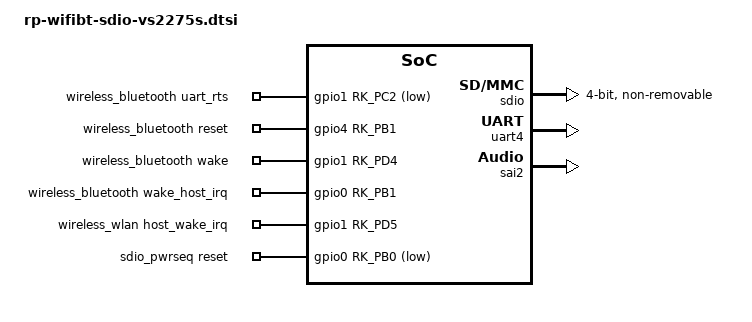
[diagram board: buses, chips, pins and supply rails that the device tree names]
/{    
    wireless_bluetooth: wireless-bluetooth {
        compatible = "bluetooth-platdata";
        uart_rts_gpios = <&gpio1 RK_PC2 GPIO_ACTIVE_LOW>;
        pinctrl-names = "default", "rts_gpio";
        pinctrl-0 = <&uart4m1_rtsn>;
        pinctrl-1 = <&uart4_gpios>;
        BT,reset_gpio    = <&gpio4 RK_PB1 GPIO_ACTIVE_HIGH>;
        BT,wake_gpio     = <&gpio1 RK_PD4 GPIO_ACTIVE_HIGH>;
        BT,wake_host_irq = <&gpio0 RK_PB1 GPIO_ACTIVE_HIGH>;
        clocks = <&hym8563>;
        clock-names = "ext_clock";
        status = "okay";
    };

    wireless_wlan: wireless-wlan {
        compatible = "wlan-platdata";
        wifi_chip_type = "vs2275s";
        pinctrl-names = "default";
        pinctrl-0 = <&wifi_host_wake_irq>;
        WIFI,host_wake_irq = <&gpio1 RK_PD5 GPIO_ACTIVE_HIGH>;
//        WIFI,poweren_gpio = <&gpio0 RK_PB1 GPIO_ACTIVE_HIGH>;
        status = "okay";
    };
    
    sdio_pwrseq: sdio-pwrseq {
        compatible = "mmc-pwrseq-simple";
        pinctrl-names = "default";
        pinctrl-0 = <&wifi_poweren_gpio>;

        /*
         * On the module itself this is one of these (depending
         * on the actual card populated):
         * - SDIO_RESET_L_WL_REG_ON
         * - PDN (power down when low)
         */
        post-power-on-delay-ms = <200>;
        reset-gpios = <&gpio0 RK_PB0 GPIO_ACTIVE_LOW>;
        status = "okay";
    };
    
    
		bt-sound {
        compatible = "simple-audio-card";
        simple-audio-card,format = "dsp_a";
        simple-audio-card,bitclock-inversion = <1>;
        simple-audio-card,mclk-fs = <256>;
        simple-audio-card,name = "rockchip,bt";
        simple-audio-card,cpu {
                sound-dai = <&sai2>;
        };

        simple-audio-card,codec {
                sound-dai = <&bt_sco 1>;
        };
    };

    bt_sco: bt-sco {
            compatible = "delta,dfbmcs320";
            #sound-dai-cells = <1>;
            status = "okay";
    };
};

&sdio {
    max-frequency = <200000000>;
    no-sd;
    no-mmc;
    bus-width = <4>;
    disable-wp;
    cap-sd-highspeed;
    cap-sdio-irq;
    keep-power-in-suspend;
    mmc-pwrseq = <&sdio_pwrseq>;
    non-removable;
    pinctrl-names = "default";
    pinctrl-0 = <&sdmmc1m0_bus4 &sdmmc1m0_clk &sdmmc1m0_cmd>;
    sd-uhs-sdr104;
    status = "okay";
};

&uart4 {
    status = "okay";
    pinctrl-names = "default";
    pinctrl-0 = <&uart4m1_xfer &uart4m1_ctsn>;
};


&sai2 {
    status = "okay";
		pinctrl-names = "default";
		pinctrl-0 = <&sai2m0_lrck
			     &sai2m0_sclk
			     &sai2m0_sdi
			     &sai2m0_sdo>;
};


&pinctrl {
    wireless-bluetooth {
        uart4_gpios: uart4-gpios {
            rockchip,pins = <1 RK_PC2 RK_FUNC_GPIO &pcfg_pull_none>;
        };
    };

    wireless-wlan {
        wifi_host_wake_irq: wifi-host-wake-irq {
            rockchip,pins = <1 RK_PD5 RK_FUNC_GPIO &pcfg_pull_up>;
        };

        wifi_poweren_gpio: wifi-poweren-gpio {
            rockchip,pins = <0 RK_PB0 RK_FUNC_GPIO &pcfg_pull_up>;
        };
    };
};



&sdmmc1m0_bus4 {
	rockchip,pins =
		<1 RK_PB4 2 &pcfg_pull_up_drv_level_8>,
		<1 RK_PB5 2 &pcfg_pull_up_drv_level_8>,
		<1 RK_PB6 2 &pcfg_pull_up_drv_level_8>,
		<1 RK_PB7 2 &pcfg_pull_up_drv_level_8>;
};


&sdmmc1m0_clk {
	rockchip,pins =
		<1 RK_PC1 2 &pcfg_pull_up_drv_level_8>;
};


&sdmmc1m0_cmd {
	rockchip,pins =
		<1 RK_PC0 2 &pcfg_pull_up_drv_level_8>;
};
